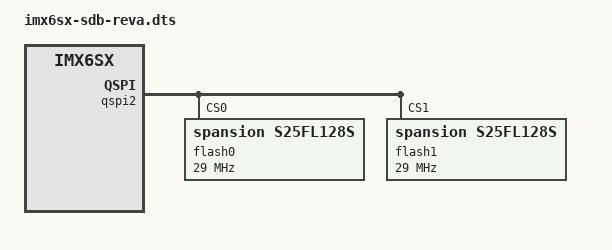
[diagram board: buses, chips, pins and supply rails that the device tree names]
/*
 * Copyright (C) 2015 Freescale Semiconductor, Inc.
 *
 * This program is free software; you can redistribute it and/or modify
 * it under the terms of the GNU General Public License version 2 as
 * published by the Free Software Foundation.
 */

#define SPANSIONFLASH
#include "imx6sx-sdb.dts"

/*
 * The CAN transceiver is changed on RevB board.
 * This dts is used for support the old CAN transceiver on RevA board
 */

&cpu0 {
	operating-points = <
		/* kHz    uV */
		996000  1250000
		792000  1175000
		396000  1075000
		198000	975000
		>;
	fsl,soc-operating-points = <
		/* ARM kHz      SOC uV */
		996000	1175000
		792000	1175000
		396000	1175000
		198000	1175000
	>;
	arm-supply = <&sw1a_reg>;
	soc-supply = <&sw1c_reg>;
	fsl,arm-soc-shared = <0>;
};

&flexcan1 {
	trx-en-gpio = <&gpio4 25 GPIO_ACTIVE_HIGH>;
	trx-stby-gpio = <&gpio4 27 GPIO_ACTIVE_HIGH>;
};

&flexcan2 {
	trx-en-gpio = <&gpio4 25 GPIO_ACTIVE_HIGH>;
	trx-stby-gpio = <&gpio4 27 GPIO_ACTIVE_HIGH>;
};

&pmic {
	compatible = "fsl,pfuze100";

	regulators {
		sw1c_reg: sw1c {
			regulator-min-microvolt = <300000>;
			regulator-max-microvolt = <1875000>;
			regulator-boot-on;
			regulator-always-on;
			regulator-ramp-delay = <6250>;
		};
		sw4_reg: sw4 {
			regulator-min-microvolt = <800000>;
			regulator-max-microvolt = <3300000>;
		};
	};
};

&qspi2 {
	pinctrl-names = "default";
	pinctrl-0 = <&pinctrl_qspi2_1>;
	status = "okay";
	ddrsmp=<0>;

	flash0: s25fl128s@0 {
		#address-cells = <1>;
		#size-cells = <1>;
		compatible = "spansion,s25fl128s";
		spi-max-frequency = <29000000>;
		reg = <0>;
	};

	flash1: s25fl128s@1 {
		#address-cells = <1>;
		#size-cells = <1>;
		compatible = "spansion,s25fl128s";
		spi-max-frequency = <29000000>;
		reg = <1>;
	};
};
